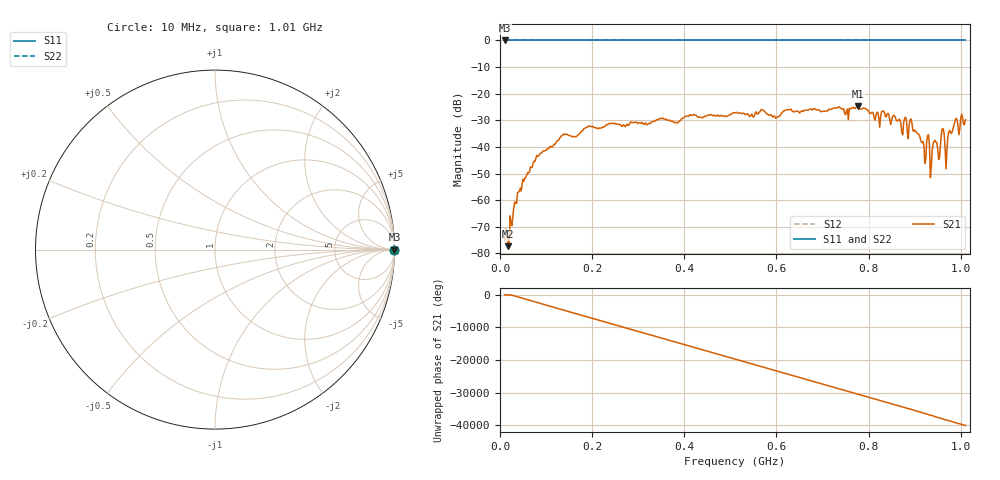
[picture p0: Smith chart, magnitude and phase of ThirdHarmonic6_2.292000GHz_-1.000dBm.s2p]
! 8/17/2025 3:03:08 AM
! C:\ANRITSUVNA\TEMP\TEMP.S2P
! CHANNEL.1
! TR.MEASUREMENT
! RAW.DATA
! RF.CORRECTION.OFF
! AVERAGING.OFF
! IF.BANDWIDTH: 5KHZ
! SWEEPTYPE:  FREQ.SWEEP(Linear)
! Reference Plane Port Info
! PORT:  PORT1  PORT2
! DISTANCE:  0  m  0  m
! TIME:  0  s  0  s
! PHASE.OFFSET:  0  deg.  0  deg.
! LOSS:  0  dB  0  dB
! REF.LOSS:  0  dB  0  dB
! REF.FREQ:  0  Hz  0  Hz
! Power Info
! POWER:  -20  dBm  -20  dBm
! EFF.POWER:  -20  dBm  -20  dBm
! SOURCE.ATTEN:  0  dB  0  dB
! TEST.ATTEN:  0  dB  0  dB
# GHZ S RI R 50.0
! FREQ.GHZ  S11RE  S11IM  S21RE  S21IM  S12RE  S12IM  S22RE  S22IM
!; PortSelection: Port_12
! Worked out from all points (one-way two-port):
!   501 points, 10 MHz to 1.01 GHz, reference 50 ohm
!   highest |S21| = -24.66 dB at 776 MHz (marker M1); lowest = -77.3 dB at 18 MHz (marker M2)
!   lowest |S11| = 0.0 dB at 10 MHz (marker M3)
!   |S11| at or under -10 dB: nowhere
!   |S22| runs from 0.0 to 0.0 dB; largest |S21 - S12| = 1.1
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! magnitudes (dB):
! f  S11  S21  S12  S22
! 10 MHz  0.0  -75.1  0.0  0.0
! 18 MHz  0.0  -77.3  0.0  0.0
! 36 MHz  0.0  -61.3  0.0  0.0
! 76 MHz  0.0  -45.4  0.0  0.0
! 136 MHz  0.0  -35.6  0.0  0.0
! 178 MHz  0.0  -33.9  0.0  0.0
! 344 MHz  0.0  -29.6  0.0  0.0
! 510 MHz  0.0  -27.2  0.0  0.0
! 602 MHz  0.0  -28.7  0.0  0.0
! 678 MHz  0.0  -26.1  0.0  0.0
! 776 MHz  0.0  -24.7  0.0  0.0
! 844 MHz  0.0  -27.9  0.0  0.0
! 892 MHz  0.0  -29.5  0.0  0.0
! 920 MHz  0.0  -39.5  0.0  0.0
! 928 MHz  0.0  -35.7  0.0  0.0
! 936 MHz  0.0  -47.4  0.0  0.0
! 944 MHz  0.0  -37.5  0.0  0.0
! 954 MHz  0.0  -43.8  0.0  0.0
! 960 MHz  0.0  -33.1  0.0  0.0
! 970 MHz  0.0  -41.0  0.0  0.0
! 988 MHz  0.0  -29.9  0.0  0.0
! 1.01 GHz  0.0  -29.8  0.0  0.0
